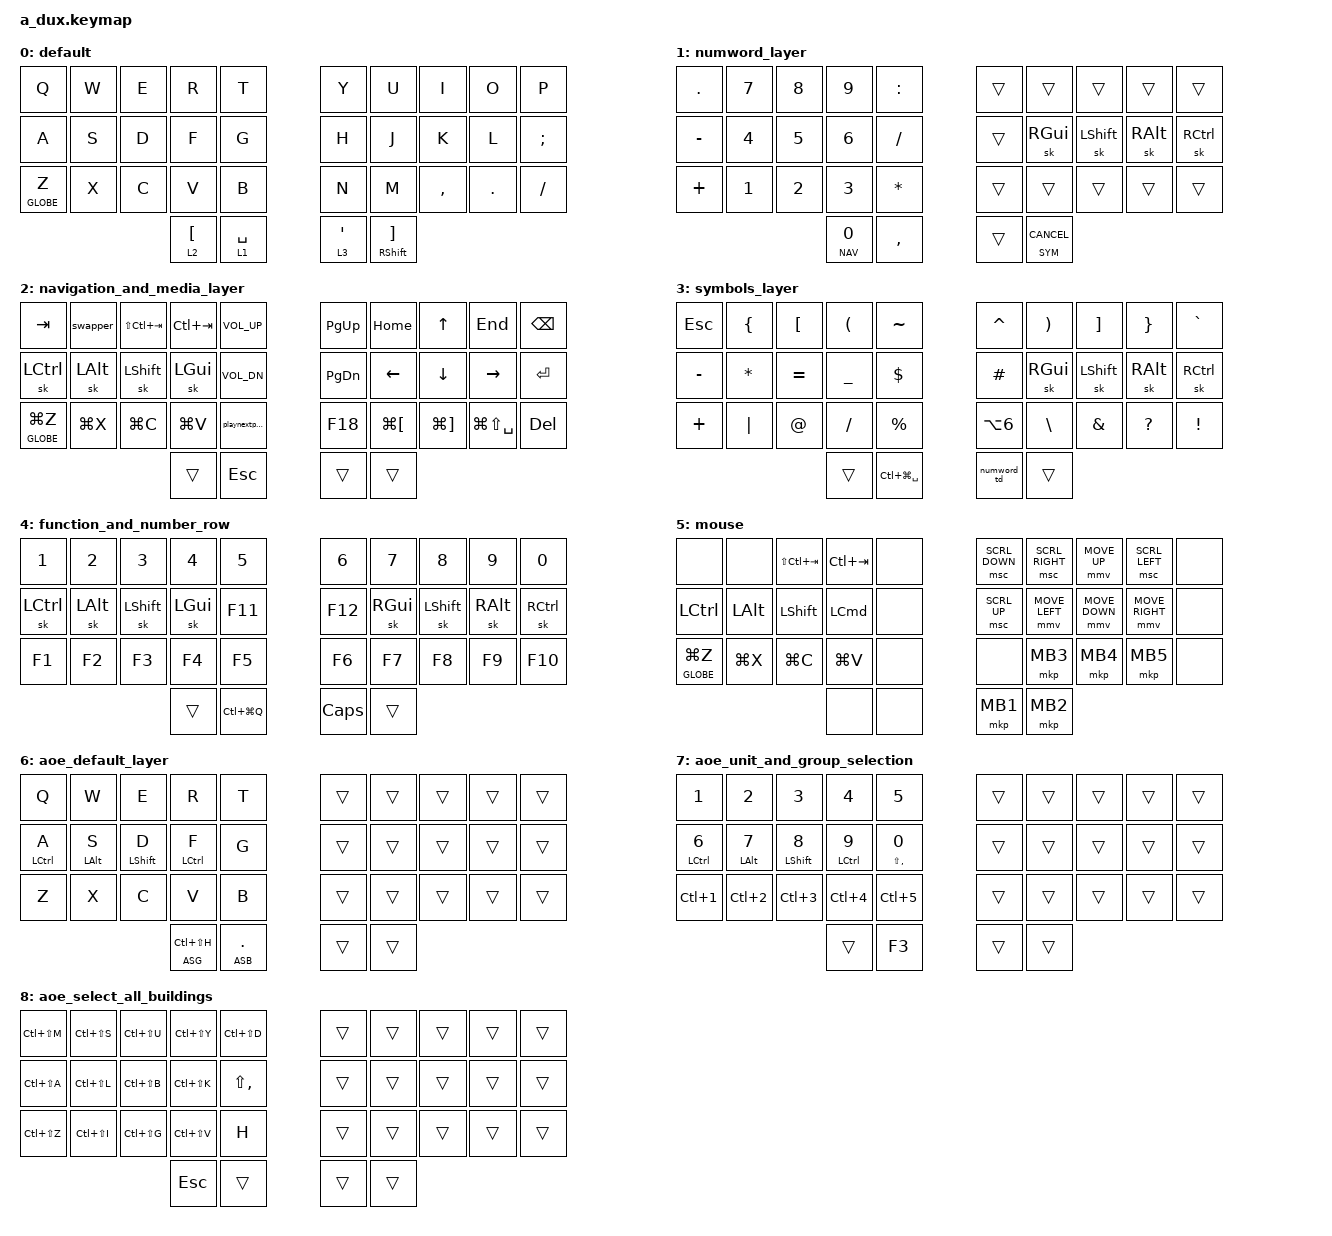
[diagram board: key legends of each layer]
#include "mouse.dtsi"
#include <behaviors.dtsi>
#include <dt-bindings/zmk/bt.h>
#include <dt-bindings/zmk/keys.h>
#include <dt-bindings/zmk/mouse.h>

#define DEF 0
#define NWD 1
#define NAV 2
#define SYM 3
#define FUN 4
#define MOU 5
#define AOE 6
#define ASG 7
#define ASB 8

// Mouse config copied from urob's config

#define ZMK_MOUSE_DEFAULT_MOVE_VAL 1500  // 600
#define ZMK_MOUSE_DEFAULT_SCRL_VAL 20    // 10

&mmv {
    acceleration-exponent = <1>;      // 1
    time-to-max-speed-ms = <500>;    // 40
    delay-ms = <0>;                   // 0
};

&msc {
    acceleration-exponent = <1>;      // 0
    time-to-max-speed-ms = <40>;      // 500
    delay-ms = <0>;                   // 10
};

// Customized caps word to allow for easier canceling and accented characters

&caps_word {
    /delete-property/ ignore-modifiers; // Canceling &caps_word with mods avoids `CMD-SHIFT-S` when I was just trying to type `CMD-S`, since CMD will cancel &caps_word
    continue-list = <UNDERSCORE MINUS SQT CARET TILDE GRAVE K_CANCEL BACKSPACE DELETE LSHFT>; // adding LSHFT is required to use some dead keys for diacriticals in PT-BR  (such as ~, ` and ^). This makes RSHFT a better candidate for my thumb key, as it can cancel &capsword on activation
};

// Emulating Callum's timerless OSM behaviour as close as possible

&sk {
    quick-release; // avoids "THis" problem
    release-after-ms = <600000>; // 1000 ms is default. I've set mine to a bonkers 10 minutes timer in order to emulate Callum's OSM, which is timeless, as close as possible
};

// Hold-taps

&lt { flavor = "hold-preferred"; }; // Using it in NWD and AOE layers
&mt { flavor = "balanced"; }; // Globe/fn and AOE mod-taps for gaming
/ {
    combos {
        compatible = "zmk,combos";

        // Left hand combos for use with the mouse on the right-hand or from AOE layers

        left_hand_esc_combo {
            bindings = <&kp ESCAPE>;
            require-prior-idle-ms = <200>; // Followind urob's formula for my 52 relaxed WPM: 10500/52 wpm ≅ 200 ms
            timeout-ms = <30>;
            layers = <DEF AOE>;
            key-positions = <0 10>;
        };

        left_hand_tab_combo {
            bindings = <&kp TAB>;
            require-prior-idle-ms = <200>;
            timeout-ms = <30>;
            layers = <DEF AOE>;
            key-positions = <1 11>;
        };

        left_hand_backspace_combo {
            bindings = <&kp BSPC>;
            require-prior-idle-ms = <200>;
            timeout-ms = <30>;
            layers = <DEF NAV AOE>;
            key-positions = <2 12>;
        };

        left_hand_enter_combo {
            bindings = <&kp ENTER>;
            require-prior-idle-ms = <200>;
            timeout-ms = <30>;
            layers = <DEF NAV AOE>;
            key-positions = <3 13>;
        };

        left_hand_del_combo {
            bindings = <&kp DEL>;
            require-prior-idle-ms = <200>;
            timeout-ms = <30>;
            layers = <DEF AOE>;
            key-positions = <4 14>;
        };

        // Special layer toggles

        nav_media_mute_combo {
            key-positions = <4 14>;
            layers = <NAV>;
            bindings = <&kp C_MUTE>;
        };

        switch_lang {
            key-positions = <30 31>;
            layers = <DEF NAV>;
            bindings = <&kp LC(SPACE)>;
        };

        enter {
            key-positions = <32 33>;
            layers = <DEF NWD AOE>;
            bindings = <&kp ENTER>;
        };

        activate_smart_mouse_layer_combo {
            key-positions = <26 27 28>;
            layers = <DEF>;
            bindings = <&smart_mouse>;
        };

        aoe_toggle_aoe_gaming_layers {
            bindings = <&tog AOE>;
            layers = <DEF AOE>;
            key-positions = <21 22 23>;
        };

        // Keyboard adjustments combos (replaces a dedicated SYS layer)

        sys_bootloader {
            key-positions = <20 21>;
            layers = <FUN>;
            bindings = <&bootloader>;
        };

        sys_toggle_bt0_connection {
            key-positions = <3 4>;
            layers = <1>;
            bindings = <&bt BT_SEL 0>;
            timeout-ms = <30>;
            require-prior-idle-ms = <200>;
        };

        sys_toggle_bt1_connection {
            key-positions = <13 14>;
            layers = <1>;
            bindings = <&bt BT_SEL 1>;
            timeout-ms = <30>;
            require-prior-idle-ms = <200>;
        };

        sys_toggle_bt2_connection {
            key-positions = <23 24>;
            layers = <1>;
            bindings = <&bt BT_SEL 2>;
            timeout-ms = <30>;
            require-prior-idle-ms = <200>;
        };

        sys_clear_current_bluetooth_profile {
            key-positions = <28 29>;
            layers = <1>;
            bindings = <&bt BT_CLR>;
            timeout-ms = <30>;
            require-prior-idle-ms = <200>;
        };

        // Anachronic inspired combos to avoid problems SYM keys in quick succession when the corresponding key is pressed quickly before the layer key (https://github.com/theol0403/anachron-zmk-config)
        // I guess this is more of a problem when using mod-taps on thumbs, which is not my case

        anachronic_tilde {
            key-positions = <4 33>;
            layers = <DEF>;
            bindings = <&kp TILDE>;
        };

        anachronic_circumflex {
            key-positions = <5 33>;
            layers = <DEF>;
            bindings = <&kp CARET>;
        };

        anachronic_grave {
            key-positions = <9 33>;
            layers = <DEF>;
            bindings = <&kp GRAVE>;
        };

        anachronic_hyphen {
            key-positions = <10 33>;
            layers = <DEF>;
            bindings = <&kp MINUS>;
        };
    };

    behaviors {
        shft_cw: shift_and_caps_word {
            compatible = "zmk,behavior-tap-dance";
            #binding-cells = <0>;
            tapping-term-ms = <300>;
            bindings = <&kp RSHFT>, <&caps_word>;
        };

        playnextprev: play_next_previous_media {
            compatible = "zmk,behavior-tap-dance";
            #binding-cells = <0>;
            tapping-term-ms = <300>;
            bindings = <&kp C_PLAY_PAUSE>, <&kp C_NEXT>, <&kp C_PREVIOUS>;
        };

        numword_td: numword_tap_dance {
            compatible = "zmk,behavior-tap-dance";
            #binding-cells = <0>;
            tapping-term-ms = <200>;
            bindings = <&numword>, <&tog NWD>;
        };

        numword: numword {
            compatible = "zmk,behavior-caps-word"; // Custom caps-word (PR #1451)
            #binding-cells = <0>;
            layers = <NWD>;
            continue-list = <BACKSPACE DELETE LPAR RPAR DOT COMMA SEMI COLON SLASH PLUS MINUS ASTRK EQUAL LGUI LALT LCTRL LSHFT RGUI RALT RCTRL>; // RSHFT tap on left thumb will cancel without entering any other character
            ignore-numbers;
        };

        swapper: swapper {
            compatible = "zmk,behavior-tri-state"; // requires tri-state (PR #1366)
            #binding-cells = <0>;
            bindings = <&kt LCMD>, <&kp TAB>, <&kt LCMD>;

            ignored-key-positions = <0 3 7 9 16 17 18 28 29>; // Tab, Shift, Arrow key positions and DEL/BSPC to quit app/close window from altTab
        };

        smart_mouse: smart_mouse {
            compatible = "zmk,behavior-tri-state"; // requires tri-state (PR #1366)
            #binding-cells = <0>;
            bindings = <&tog MOU>, <&none>, <&tog MOU>;

            ignored-layers = <MOU>;
            ignored-key-positions = <
            7 16 17 18
            5 15 6 8 
            32 33 
            26 27 28 
            10 11 12 13 
            20 21 22 23 
            1 2 3 
            >;

            // Every key set in mouse layer
        };
    };

    macros {
        lc: mo_layer_switch_with_an_embeded_cancel_tap {
            compatible = "zmk,behavior-macro-one-param";
            wait-ms = <0>;
            tap-ms = <0>;
            #binding-cells = <1>;
            bindings =
                <&macro_tap>,
                <&kp K_CANCEL &macro_param_1to1>,
                <&macro_press>,
                <&mo MACRO_PLACEHOLDER>,
                <&macro_pause_for_release>,
                <&macro_param_1to1>,
                <&macro_release>,
                <&mo MACRO_PLACEHOLDER>;
        };
    };

    conditional_layers {
        compatible = "zmk,conditional-layers";

        tri_layer_for_function_and_number_keys {
            if-layers = <NAV SYM>;
            then-layer = <FUN>;
        };
    };

    keymap {
        compatible = "zmk,keymap";

        default {
            bindings = <
&kp Q        &kp W  &kp E  &kp R  &kp T                                         &kp Y                          &kp U  &kp I      &kp O    &kp P
&kp A        &kp S  &kp D  &kp F  &kp G                                         &kp H                          &kp J  &kp K      &kp L    &kp SEMICOLON
&mt GLOBE Z  &kp X  &kp C  &kp V  &kp B                                         &kp N                          &kp M  &kp COMMA  &kp DOT  &kp SLASH
                                  &lt 2 LEFT_BRACKET  &lt 1 SPACE    &lt 3 SQT  &mt RIGHT_SHIFT RIGHT_BRACKET
            >;
        };

        numword_layer {
            bindings = <
&kp DOT    &kp N7  &kp N8  &kp N9  &kp COLON                        &trans            &trans    &trans     &trans    &trans
&kp MINUS  &kp N4  &kp N5  &kp N6  &kp SLASH                        &trans            &sk RGUI  &sk LSHFT  &sk RALT  &sk RCTRL
&kp PLUS   &kp N1  &kp N2  &kp N3  &kp ASTRK                        &trans            &trans    &trans     &trans    &trans
                                   &lt NAV N0  &kp COMMA    &trans  &lt SYM K_CANCEL
            >;
        };

        navigation_and_media_layer {
            bindings = <
&kp TAB          &swapper   &kp LS(LC(TAB))  &kp LC(TAB)  &kp C_VOL_UP                      &kp PG_UP  &kp HOME      &kp UP        &kp END            &kp BSPC
&sk LCTRL        &sk LALT   &sk LSHFT        &sk LGUI     &kp C_VOL_DN                      &kp PG_DN  &kp LEFT      &kp DOWN      &kp RIGHT          &kp ENTER
&mt GLOBE LG(Z)  &kp LG(X)  &kp LG(C)        &kp LG(V)    &playnextprev                     &kp F18    &kp LG(LBKT)  &kp LG(RBKT)  &kp LG(LS(SPACE))  &kp DEL
                                                          &trans         &kp ESC    &trans  &trans
            >;
        };

        symbols_layer {
            bindings = <
&kp ESC    &kp LBRC   &kp LBKT   &kp LPAR   &kp TILDE                                    &kp CARET   &kp RPAR  &kp RBKT   &kp RBRC   &kp GRAVE
&kp MINUS  &kp ASTRK  &kp EQUAL  &kp UNDER  &kp DLLR                                     &kp HASH    &sk RGUI  &sk LSHFT  &sk RALT   &sk RCTRL
&kp PLUS   &kp PIPE   &kp AT     &kp FSLH   &kp PRCNT                                    &kp LA(N6)  &kp BSLH  &kp AMPS   &kp QMARK  &kp EXCL
                                            &trans     &kp LC(LG(SPACE))    &numword_td  &trans
            >;
        };

        function_and_number_row {
            bindings = <
&kp N1     &kp N2    &kp N3     &kp N4    &kp N5                                  &kp N6   &kp N7    &kp N8     &kp N9    &kp N0
&sk LCTRL  &sk LALT  &sk LSHFT  &sk LGUI  &kp F11                                 &kp F12  &sk RGUI  &sk LSHFT  &sk RALT  &sk RCTRL
&kp F1     &kp F2    &kp F3     &kp F4    &kp F5                                  &kp F6   &kp F7    &kp F8     &kp F9    &kp F10
                                          &trans   &kp LC(LG(Q))    &kp CAPSLOCK  &trans
            >;
        };

        mouse {
            bindings = <
&none            &none      &kp LS(LC(TAB))  &kp LC(TAB)  &none                     &msc SCRL_DOWN  &msc SCRL_RIGHT  &mmv MOVE_UP    &msc SCRL_LEFT   &none
&kp LCTRL        &kp LALT   &kp LSHFT        &kp LCMD     &none                     &msc SCRL_UP    &mmv MOVE_LEFT   &mmv MOVE_DOWN  &mmv MOVE_RIGHT  &none
&mt GLOBE LG(Z)  &kp LG(X)  &kp LG(C)        &kp LG(V)    &none                     &none           &mkp MB3         &mkp MB4        &mkp MB5         &none
                                                          &none  &none    &mkp MB1  &mkp MB2
            >;
        };

        aoe_default_layer {
            bindings = <
&kp Q        &kp W       &kp E        &kp R        &kp T                                     &trans  &trans  &trans  &trans  &trans
&mt LCTRL A  &mt LALT S  &mt LSHFT D  &mt LCTRL F  &kp G                                     &trans  &trans  &trans  &trans  &trans
&kp Z        &kp X       &kp C        &kp V        &kp B                                     &trans  &trans  &trans  &trans  &trans
                                                   &lt ASG LC(LS(H))  &lt ASB DOT    &trans  &trans
            >;
        };

        aoe_unit_and_group_selection {
            bindings = <
&kp N1        &kp N2       &kp N3        &kp N4        &kp N5                              &trans  &trans  &trans  &trans  &trans
&mt LCTRL N6  &mt LALT N7  &mt LSHFT N8  &mt LCTRL N9  &mt LS(COMMA) N0                    &trans  &trans  &trans  &trans  &trans
&kp LC(N1)    &kp LC(N2)   &kp LC(N3)    &kp LC(N4)    &kp LC(N5)                          &trans  &trans  &trans  &trans  &trans
                                                       &trans            &kp F3    &trans  &trans
            >;
        };

        aoe_select_all_buildings {
            bindings = <
&kp LC(LS(M))  &kp LC(LS(S))  &kp LC(LS(U))  &kp LC(LS(Y))  &kp LC(LS(D))                    &trans  &trans  &trans  &trans  &trans
&kp LC(LS(A))  &kp LC(LS(L))  &kp LC(LS(B))  &kp LC(LS(K))  &kp LS(COMMA)                    &trans  &trans  &trans  &trans  &trans
&kp LC(LS(Z))  &kp LC(LS(I))  &kp LC(LS(G))  &kp LC(LS(V))  &kp H                            &trans  &trans  &trans  &trans  &trans
                                                            &kp ESC        &trans    &trans  &trans
            >;
        };
    };
};
